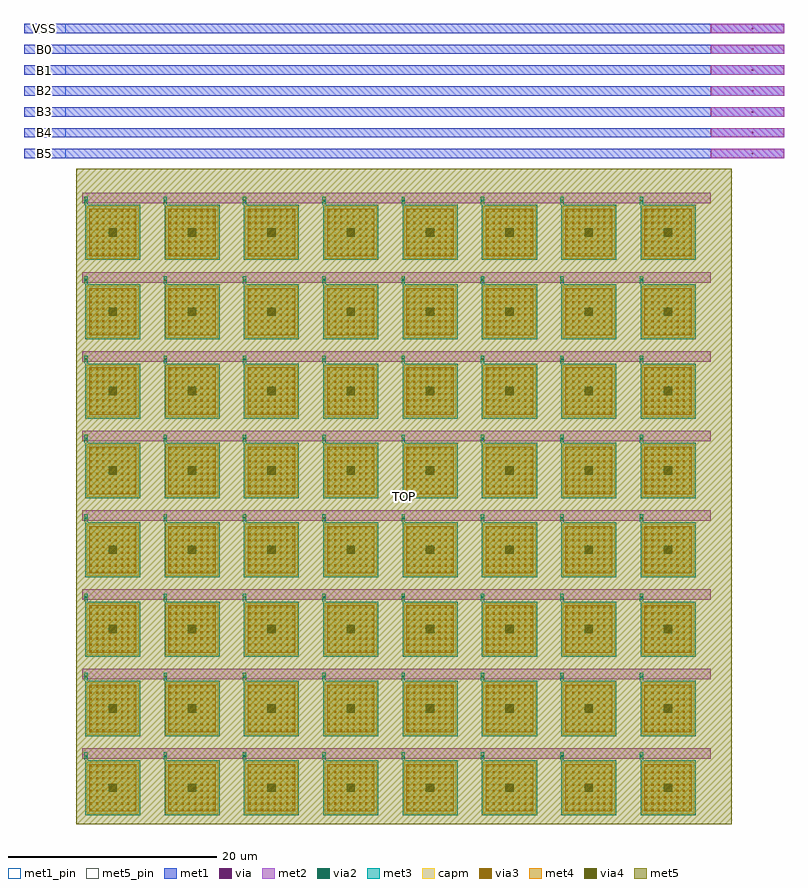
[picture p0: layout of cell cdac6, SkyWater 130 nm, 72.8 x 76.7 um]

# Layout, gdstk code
import gdstk
lib = gdstk.Library(unit=1e-6, precision=1e-09)
def R(c, l, rs):  # rectangles x0, y0, x1, y1
    for r in rs: c.add(gdstk.rectangle(r[:2], r[2:], *l))
def A(c, l, x, y, w, h, nx, ny, dx, dy):  # array of equal rectangles
    R(c, l, [(x+i*dx, y+j*dy, x+i*dx+w, y+j*dy+h) for i in range(nx) for j in range(ny)])
met1_pin = (68, 16)
met1 = (68, 20)
via = (68, 44)
met2 = (69, 20)
via2 = (69, 44)
met3 = (70, 20)
via3 = (70, 44)
met4 = (71, 20)
via4 = (71, 44)
met5_pin = (72, 16)
met5 = (72, 20)
capm = (89, 44)

cdac6 = lib.new_cell('cdac6')
A(cdac6, met1_pin, -6, 62.8, 4, 0.9, 1, 7, 0, 2)
A(cdac6, met1, -6, 62.8, 4, 0.9, 1, 7, 0, 2)
A(cdac6, met1, -2, 62.8, 68.8, 0.9, 1, 7, 0, 2)
A(cdac6, met1, 63.67, 63.09, 0.26, 0.32, 1, 7, 0, 2)
A(cdac6, via, 63.725, 63.175, 0.15, 0.15, 1, 7, 0, 2)
A(cdac6, met2, -0.4, 5.3, 28.6, 1, 1, 8, 0, 7.6)
A(cdac6, met2, 28.2, 5.3, 31.6, 1, 1, 8, 0, 7.6)
A(cdac6, met2, 30, 5.3, 13.4, 1, 1, 8, 0, 7.6)
A(cdac6, met2, 43.4, 5.3, 16.4, 1, 1, 8, 0, 7.6)
A(cdac6, met2, 45.2, 5.3, 5.8, 1, 1, 8, 0, 7.6)
A(cdac6, met2, 51, 5.3, 8.8, 1, 1, 8, 0, 7.6)
A(cdac6, met2, 52.8, 5.3, 5.8, 1, 1, 8, 0, 7.6)
A(cdac6, met2, 58.6, 5.3, 1.2, 1, 1, 8, 0, 7.6)
A(cdac6, met2, -0.21, 5.355, 0.28, 0.37, 8, 8, 7.6, 7.6)
A(cdac6, met2, 59.8, 62.8, 7, 0.9, 1, 7, 0, 2)
A(cdac6, met2, 63.67, 63.09, 0.26, 0.32, 1, 7, 0, 2)
A(cdac6, via2, -0.17, 5.44, 0.2, 0.2, 8, 8, 7.6, 7.6)
A(cdac6, met3, -0.14, -0.14, 5.28, 5.28, 8, 8, 7.6, 7.6)
A(cdac6, met3, -0.235, 5.175, 0.33, 0.73, 8, 8, 7.6, 7.6)
A(cdac6, via3, 0.3, 0.3, 0.2, 0.2, 8, 8, 0.6, 0.6)
A(cdac6, via3, 7.9, 0.3, 0.2, 0.2, 8, 8, 0.6, 0.6)
A(cdac6, via3, 15.5, 0.3, 0.2, 0.2, 8, 8, 0.6, 0.6)
A(cdac6, via3, 23.1, 0.3, 0.2, 0.2, 8, 8, 0.6, 0.6)
A(cdac6, via3, 30.7, 0.3, 0.2, 0.2, 8, 8, 0.6, 0.6)
A(cdac6, via3, 38.3, 0.3, 0.2, 0.2, 8, 8, 0.6, 0.6)
A(cdac6, via3, 45.9, 0.3, 0.2, 0.2, 8, 8, 0.6, 0.6)
A(cdac6, via3, 53.5, 0.3, 0.2, 0.2, 8, 8, 0.6, 0.6)
A(cdac6, via3, 0.3, 7.9, 0.2, 0.2, 8, 8, 0.6, 0.6)
A(cdac6, via3, 7.9, 7.9, 0.2, 0.2, 8, 8, 0.6, 0.6)
A(cdac6, via3, 15.5, 7.9, 0.2, 0.2, 8, 8, 0.6, 0.6)
A(cdac6, via3, 23.1, 7.9, 0.2, 0.2, 8, 8, 0.6, 0.6)
A(cdac6, via3, 30.7, 7.9, 0.2, 0.2, 8, 8, 0.6, 0.6)
A(cdac6, via3, 38.3, 7.9, 0.2, 0.2, 8, 8, 0.6, 0.6)
A(cdac6, via3, 45.9, 7.9, 0.2, 0.2, 8, 8, 0.6, 0.6)
A(cdac6, via3, 53.5, 7.9, 0.2, 0.2, 8, 8, 0.6, 0.6)
A(cdac6, via3, 0.3, 15.5, 0.2, 0.2, 8, 8, 0.6, 0.6)
A(cdac6, via3, 7.9, 15.5, 0.2, 0.2, 8, 8, 0.6, 0.6)
A(cdac6, via3, 15.5, 15.5, 0.2, 0.2, 8, 8, 0.6, 0.6)
A(cdac6, via3, 23.1, 15.5, 0.2, 0.2, 8, 8, 0.6, 0.6)
A(cdac6, via3, 30.7, 15.5, 0.2, 0.2, 8, 8, 0.6, 0.6)
A(cdac6, via3, 38.3, 15.5, 0.2, 0.2, 8, 8, 0.6, 0.6)
A(cdac6, via3, 45.9, 15.5, 0.2, 0.2, 8, 8, 0.6, 0.6)
A(cdac6, via3, 53.5, 15.5, 0.2, 0.2, 8, 8, 0.6, 0.6)
A(cdac6, via3, 0.3, 23.1, 0.2, 0.2, 8, 8, 0.6, 0.6)
A(cdac6, via3, 7.9, 23.1, 0.2, 0.2, 8, 8, 0.6, 0.6)
A(cdac6, via3, 15.5, 23.1, 0.2, 0.2, 8, 8, 0.6, 0.6)
A(cdac6, via3, 23.1, 23.1, 0.2, 0.2, 8, 8, 0.6, 0.6)
A(cdac6, via3, 30.7, 23.1, 0.2, 0.2, 8, 8, 0.6, 0.6)
A(cdac6, via3, 38.3, 23.1, 0.2, 0.2, 8, 8, 0.6, 0.6)
A(cdac6, via3, 45.9, 23.1, 0.2, 0.2, 8, 8, 0.6, 0.6)
A(cdac6, via3, 53.5, 23.1, 0.2, 0.2, 8, 8, 0.6, 0.6)
A(cdac6, via3, 0.3, 30.7, 0.2, 0.2, 8, 8, 0.6, 0.6)
A(cdac6, via3, 7.9, 30.7, 0.2, 0.2, 8, 8, 0.6, 0.6)
A(cdac6, via3, 15.5, 30.7, 0.2, 0.2, 8, 8, 0.6, 0.6)
A(cdac6, via3, 23.1, 30.7, 0.2, 0.2, 8, 8, 0.6, 0.6)
A(cdac6, via3, 30.7, 30.7, 0.2, 0.2, 8, 8, 0.6, 0.6)
A(cdac6, via3, 38.3, 30.7, 0.2, 0.2, 8, 8, 0.6, 0.6)
A(cdac6, via3, 45.9, 30.7, 0.2, 0.2, 8, 8, 0.6, 0.6)
A(cdac6, via3, 53.5, 30.7, 0.2, 0.2, 8, 8, 0.6, 0.6)
A(cdac6, via3, 0.3, 38.3, 0.2, 0.2, 8, 8, 0.6, 0.6)
A(cdac6, via3, 7.9, 38.3, 0.2, 0.2, 8, 8, 0.6, 0.6)
A(cdac6, via3, 15.5, 38.3, 0.2, 0.2, 8, 8, 0.6, 0.6)
A(cdac6, via3, 23.1, 38.3, 0.2, 0.2, 8, 8, 0.6, 0.6)
A(cdac6, via3, 30.7, 38.3, 0.2, 0.2, 8, 8, 0.6, 0.6)
A(cdac6, via3, 38.3, 38.3, 0.2, 0.2, 8, 8, 0.6, 0.6)
A(cdac6, via3, 45.9, 38.3, 0.2, 0.2, 8, 8, 0.6, 0.6)
A(cdac6, via3, 53.5, 38.3, 0.2, 0.2, 8, 8, 0.6, 0.6)
A(cdac6, via3, 0.3, 45.9, 0.2, 0.2, 8, 8, 0.6, 0.6)
A(cdac6, via3, 7.9, 45.9, 0.2, 0.2, 8, 8, 0.6, 0.6)
A(cdac6, via3, 15.5, 45.9, 0.2, 0.2, 8, 8, 0.6, 0.6)
A(cdac6, via3, 23.1, 45.9, 0.2, 0.2, 8, 8, 0.6, 0.6)
A(cdac6, via3, 30.7, 45.9, 0.2, 0.2, 8, 8, 0.6, 0.6)
A(cdac6, via3, 38.3, 45.9, 0.2, 0.2, 8, 8, 0.6, 0.6)
A(cdac6, via3, 45.9, 45.9, 0.2, 0.2, 8, 8, 0.6, 0.6)
A(cdac6, via3, 53.5, 45.9, 0.2, 0.2, 8, 8, 0.6, 0.6)
A(cdac6, via3, 0.3, 53.5, 0.2, 0.2, 8, 8, 0.6, 0.6)
A(cdac6, via3, 7.9, 53.5, 0.2, 0.2, 8, 8, 0.6, 0.6)
A(cdac6, via3, 15.5, 53.5, 0.2, 0.2, 8, 8, 0.6, 0.6)
A(cdac6, via3, 23.1, 53.5, 0.2, 0.2, 8, 8, 0.6, 0.6)
A(cdac6, via3, 30.7, 53.5, 0.2, 0.2, 8, 8, 0.6, 0.6)
A(cdac6, via3, 38.3, 53.5, 0.2, 0.2, 8, 8, 0.6, 0.6)
A(cdac6, via3, 45.9, 53.5, 0.2, 0.2, 8, 8, 0.6, 0.6)
A(cdac6, via3, 53.5, 53.5, 0.2, 0.2, 8, 8, 0.6, 0.6)
A(cdac6, met4, 0.235, 0.235, 4.53, 4.53, 8, 8, 7.6, 7.6)
A(cdac6, met4, 1.91, 1.91, 1.18, 1.18, 8, 8, 7.6, 7.6)
A(cdac6, via4, 2.1, 2.1, 0.8, 0.8, 8, 8, 7.6, 7.6)
R(cdac6, met5_pin, [(-1,-1,61.8,61.8), (-1,-1,61.8,61.8)])
A(cdac6, met5, 1.7, 1.25, 1.6, 2.5, 8, 8, 7.6, 7.6)
R(cdac6, met5, [(-1,-1,61.8,61.8)])
A(cdac6, capm, 0, 0, 5, 5, 8, 8, 7.6, 7.6)
cdac6.add(gdstk.Label('TOP', (30.4,30.4), layer=72, texttype=16))
cdac6.add(gdstk.Label('TOP', (30.4,30.4), layer=72, texttype=16))
cdac6.add(gdstk.Label('TOP', (30.4,30.4), layer=72, texttype=5))
cdac6.add(gdstk.Label('TOP', (30.4,30.4), layer=72, texttype=5))
cdac6.add(gdstk.Label('B5', (-4,63.25), layer=68, texttype=16))
cdac6.add(gdstk.Label('B4', (-4,65.25), layer=68, texttype=16))
cdac6.add(gdstk.Label('B3', (-4,67.25), layer=68, texttype=16))
cdac6.add(gdstk.Label('B2', (-4,69.25), layer=68, texttype=16))
cdac6.add(gdstk.Label('B1', (-4,71.25), layer=68, texttype=16))
cdac6.add(gdstk.Label('B0', (-4,73.25), layer=68, texttype=16))
cdac6.add(gdstk.Label('VSS', (-4,75.25), layer=68, texttype=16))
cdac6.add(gdstk.Label('B5', (-4,63.25), layer=68, texttype=5))
cdac6.add(gdstk.Label('B4', (-4,65.25), layer=68, texttype=5))
cdac6.add(gdstk.Label('B3', (-4,67.25), layer=68, texttype=5))
cdac6.add(gdstk.Label('B2', (-4,69.25), layer=68, texttype=5))
cdac6.add(gdstk.Label('B1', (-4,71.25), layer=68, texttype=5))
cdac6.add(gdstk.Label('B0', (-4,73.25), layer=68, texttype=5))
cdac6.add(gdstk.Label('VSS', (-4,75.25), layer=68, texttype=5))

lib.write_gds('cdac6.gds')
